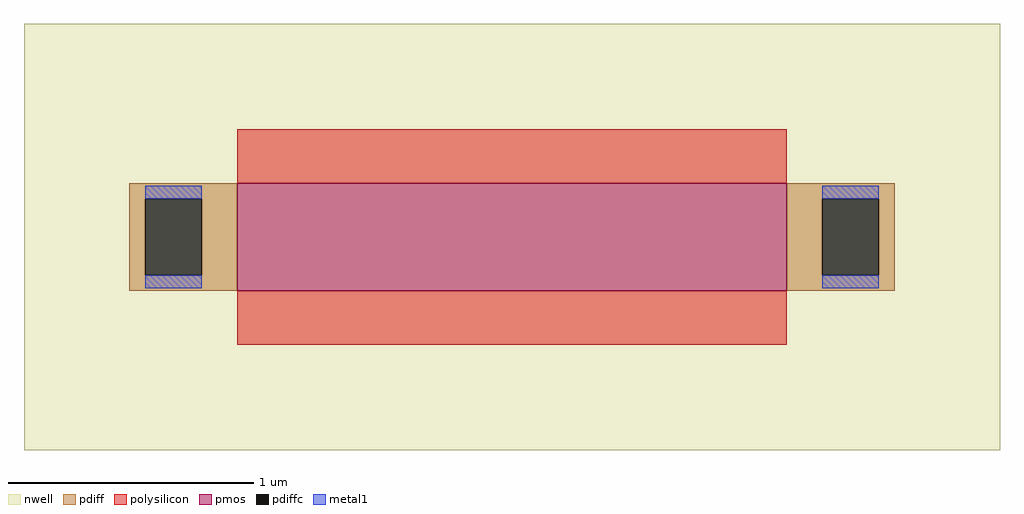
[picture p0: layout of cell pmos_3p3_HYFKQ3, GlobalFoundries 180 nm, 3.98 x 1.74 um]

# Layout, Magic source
magic
tech gf180mcuC
magscale 1 10
<< nwell >>
rect -398 -174 398 174
<< pmos >>
rect -224 -44 224 44
<< pdiff >>
rect -312 31 -224 44
rect -312 -31 -299 31
rect -253 -31 -224 31
rect -312 -44 -224 -31
rect 224 31 312 44
rect 224 -31 253 31
rect 299 -31 312 31
rect 224 -44 312 -31
<< pdiffc >>
rect -299 -31 -253 31
rect 253 -31 299 31
<< polysilicon >>
rect -224 44 224 88
rect -224 -88 224 -44
<< metal1 >>
rect -299 31 -253 42
rect -299 -42 -253 -31
rect 253 31 299 42
rect 253 -42 299 -31
<< properties >>
string gencell pmos_3p3
string library gf180mcu
string parameters w 0.44 l 2.24 m 1 nf 1 diffcov 100 polycov 100 guard 0 glc 0 grc 0 gtc 0 gbc 0 tbcov 100 rlcov 100 topc 0 botc 0 poverlap 0 doverlap 1 lmin 0.28 wmin 0.22 full_metal 0 compatible {pmos_3p3 pmos_6p0}
<< end >>
